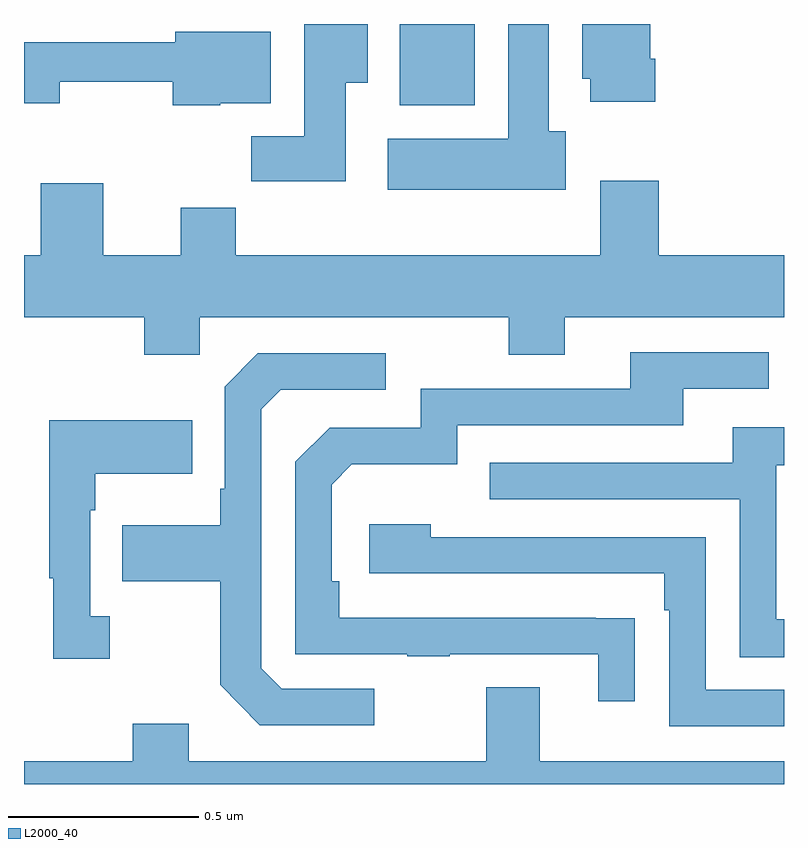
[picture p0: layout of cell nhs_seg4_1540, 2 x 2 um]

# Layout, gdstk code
import gdstk
lib = gdstk.Library(unit=1e-6, precision=1e-09)
def R(c, l, rs):  # rectangles x0, y0, x1, y1
    for r in rs: c.add(gdstk.rectangle(r[:2], r[2:], *l))
def P(c, l, *ps):  # polygons
    for p in ps: c.add(gdstk.Polygon(p, *l))
L2000_40 = (2000, 40)

nhs_seg4_1540 = lib.new_cell('nhs_seg4_1540')
R(nhs_seg4_1540, L2000_40, [(129.989,822.686,130.186,822.9)])
P(nhs_seg4_1540, L2000_40, [(129.847,822.745),(129.904,822.745),(129.904,822.9),(129.737,822.9),(129.737,822.604),(129.598,822.604),(129.598,822.486),(129.847,822.486)],
  [(130.426,822.618),(130.381,822.618),(130.381,822.9),(130.274,822.9),(130.274,822.598),(129.957,822.598),(129.957,822.464),(130.426,822.464)],
  [(130.661,822.808),(130.648,822.808),(130.648,822.9),(130.469,822.9),(130.469,822.756),(130.49,822.756),(130.49,822.696),(130.661,822.696)],
  [(129.516,822.692),(129.649,822.692),(129.649,822.88),(129.398,822.88),(129.398,822.852),(129,822.852),(129,822.691),(129.094,822.691),(129.094,822.748),(129.391,822.748),(129.391,822.686),(129.516,822.686)],
  [(129.462,822.128),(130.276,822.128),(130.276,822.029),(130.423,822.029),(130.423,822.128),(131,822.128),(131,822.292),(130.67,822.292),(130.67,822.487),(130.517,822.487),(130.517,822.292),(129.557,822.292),(129.557,822.416),(129.413,822.416),(129.413,822.292),(129.208,822.292),(129.208,822.481),(129.044,822.481),(129.044,822.292),(129,822.292),(129,822.128),(129.316,822.128),(129.316,822.029),(129.462,822.029)],
  [(130.607,821.336),(130.505,821.336),(130.505,821.337),(129.83,821.337),(129.83,821.434),(129.81,821.434),(129.81,821.688),(129.863,821.741),(130.14,821.741),(130.14,821.844),(130.735,821.844),(130.735,821.94),(130.96,821.94),(130.96,822.036),(130.595,822.036),(130.595,821.94),(130.044,821.94),(130.044,821.838),(129.804,821.838),(129.714,821.748),(129.714,821.241),(130.009,821.241),(130.009,821.236),(130.121,821.236),(130.121,821.241),(130.511,821.241),(130.511,821.118),(130.607,821.118)],
  [(129.922,821.151),(129.678,821.151),(129.624,821.205),(129.624,821.886),(129.675,821.937),(129.952,821.937),(129.952,822.033),(129.615,822.033),(129.528,821.946),(129.528,821.677),(129.516,821.677),(129.516,821.581),(129.259,821.581),(129.259,821.434),(129.516,821.434),(129.516,821.161),(129.621,821.055),(129.922,821.055)],
  [(129.226,821.342),(129.174,821.342),(129.174,821.621),(129.187,821.621),(129.187,821.717),(129.443,821.717),(129.443,821.857),(129.066,821.857),(129.066,821.441),(129.077,821.441),(129.077,821.229),(129.226,821.229)],
  [(131,821.334),(130.98,821.334),(130.98,821.739),(131,821.739),(131,821.839),(130.865,821.839),(130.865,821.745),(130.225,821.745),(130.225,821.649),(130.884,821.649),(130.884,821.233),(131,821.233)],
  [(131,821.148),(130.794,821.148),(130.794,821.55),(130.07,821.55),(130.07,821.584),(129.909,821.584),(129.909,821.454),(130.685,821.454),(130.685,821.357),(130.698,821.357),(130.698,821.052),(131,821.052)],
  [(131,820.96),(130.357,820.96),(130.357,821.155),(130.217,821.155),(130.217,820.96),(129.433,820.96),(129.433,821.059),(129.286,821.059),(129.286,820.96),(129,820.96),(129,820.9),(131,820.9)])

lib.write_gds('nhs_seg4_1540.gds')
